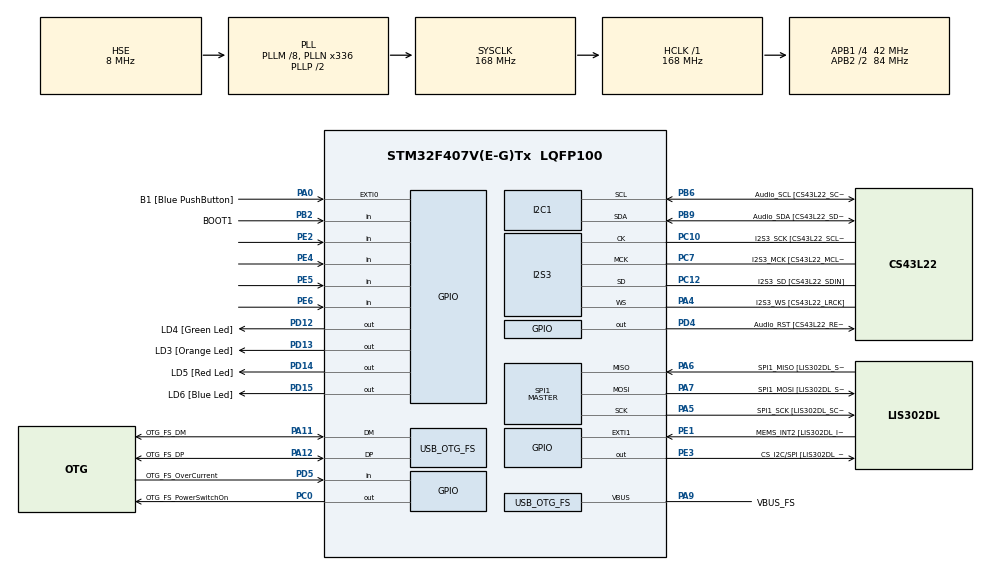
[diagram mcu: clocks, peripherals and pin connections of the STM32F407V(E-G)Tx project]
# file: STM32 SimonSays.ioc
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I2S3.AudioFreq-Half_Duplex_Master=I2S_AUDIOFREQ_96K
I2S3.ErrorAudioFreq=-2.34 %
I2S3.ErrorAudioFreq-Half_Duplex_Master=0.8 %
I2S3.FullDuplexMode=I2S_FULLDUPLEXMODE_DISABLE
I2S3.Instance=SPI$Index
I2S3.RealAudioFreq=93.75 KHz
I2S3.RealAudioFreq-Half_Duplex_Master=96.774 KHz
I2S3.VirtualMode=I2S_MODE_MASTER
Mcu.Family=STM32F4
Mcu.Name=STM32F407V(E-G)Tx
Mcu.Package=LQFP100
NVIC.OTG_FS_IRQn=true\:0\:0\:false\:false\:true\:true\:true\:true
NVIC.PriorityGroup=NVIC_PRIORITYGROUP_0
PA0-WKUP.GPIO_Label=B1 [Blue PushButton]
PA0-WKUP.GPIO_ModeDefaultEXTI=GPIO_MODE_EVT_RISING
PA0-WKUP.GPIO_PuPd=GPIO_NOPULL
PA0-WKUP.Signal=GPXTI0
PA10.GPIO_Label=OTG_FS_ID
PA10.GPIO_Mode=GPIO_MODE_AF_PP
PA10.GPIO_PuPd=GPIO_NOPULL
PA10.GPIO_Speed=GPIO_SPEED_FREQ_LOW
PA10.Signal=USB_OTG_FS_ID
PA11.GPIO_Label=OTG_FS_DM
PA11.GPIO_Mode=GPIO_MODE_AF_PP
PA11.GPIO_PuPd=GPIO_NOPULL
PA11.GPIO_Speed=GPIO_SPEED_FREQ_LOW
PA11.Mode=Host_Only
PA11.Signal=USB_OTG_FS_DM
PA12.GPIO_Label=OTG_FS_DP
PA12.GPIO_Mode=GPIO_MODE_AF_PP
PA12.GPIO_PuPd=GPIO_NOPULL
PA12.GPIO_Speed=GPIO_SPEED_FREQ_LOW
PA12.Mode=Host_Only
PA12.Signal=USB_OTG_FS_DP
PA13.GPIO_Label=SWDIO
PA13.Mode=Serial_Wire
PA13.Signal=SYS_JTMS-SWDIO
PA14.GPIO_Label=SWCLK
PA14.Mode=Serial_Wire
PA14.Signal=SYS_JTCK-SWCLK
PA4.GPIO_Label=I2S3_WS [CS43L22_LRCK]
PA4.GPIO_Mode=GPIO_MODE_AF_PP
PA4.GPIO_PuPd=GPIO_NOPULL
PA4.GPIO_Speed=GPIO_SPEED_FREQ_LOW
PA4.Mode=Half_Duplex_Master
PA4.Signal=I2S3_WS
PA5.GPIO_Label=SPI1_SCK [LIS302DL_SCL/SPC]
PA5.GPIO_Mode=GPIO_MODE_AF_PP
PA5.GPIO_PuPd=GPIO_NOPULL
PA5.GPIO_Speed=GPIO_SPEED_FREQ_LOW
PA5.Mode=Full_Duplex_Master
PA5.Signal=SPI1_SCK
PA6.GPIO_Label=SPI1_MISO [LIS302DL_SDO]
PA6.GPIO_Mode=GPIO_MODE_AF_PP
PA6.GPIO_PuPd=GPIO_NOPULL
PA6.GPIO_Speed=GPIO_SPEED_FREQ_LOW
PA6.Mode=Full_Duplex_Master
PA6.Signal=SPI1_MISO
PA7.GPIO_Label=SPI1_MOSI [LIS302DL_SDA/SDI/SDO]
PA7.GPIO_Mode=GPIO_MODE_AF_PP
PA7.GPIO_PuPd=GPIO_NOPULL
PA7.GPIO_Speed=GPIO_SPEED_FREQ_LOW
PA7.Mode=Full_Duplex_Master
PA7.Signal=SPI1_MOSI
PA9.GPIO_Label=VBUS_FS
PA9.GPIO_Mode=GPIO_MODE_INPUT
PA9.GPIO_PuPd=GPIO_NOPULL
PA9.Mode=Activate_VBUS
PA9.Signal=USB_OTG_FS_VBUS
PB10.GPIO_Label=CLK_IN [MP45DT02_CLK]
PB10.GPIO_Mode=GPIO_MODE_AF_PP
PB10.GPIO_PuPd=GPIO_NOPULL
PB10.GPIO_Speed=GPIO_SPEED_FREQ_LOW
PB10.Signal=I2S2_CK
PB2.GPIO_Label=BOOT1
PB2.GPIO_Mode=GPIO_MODE_INPUT
PB2.GPIO_PuPd=GPIO_NOPULL
PB2.Signal=GPIO_Input
PB3.GPIO_Label=SWO
PB3.Signal=SYS_JTDO-SWO
PB6.GPIO_Label=Audio_SCL [CS43L22_SCL]
PB6.GPIO_Mode=GPIO_MODE_AF_OD
PB6.GPIO_Pu=GPIO_PULLUP
PB6.GPIO_PuPd=GPIO_NOPULL
PB6.GPIO_Speed=GPIO_SPEED_FREQ_LOW
PB6.Mode=I2C
PB6.Signal=I2C1_SCL
PB9.GPIO_Label=Audio_SDA [CS43L22_SDA]
PB9.GPIO_Mode=GPIO_MODE_AF_OD
PB9.GPIO_Pu=GPIO_PULLUP
PB9.GPIO_PuPd=GPIO_NOPULL
PB9.GPIO_Speed=GPIO_SPEED_FREQ_LOW
PB9.Mode=I2C
PB9.Signal=I2C1_SDA
PC0.GPIO_Label=OTG_FS_PowerSwitchOn
PC0.GPIO_PuPd=GPIO_NOPULL
PC0.GPIO_Speed=GPIO_SPEED_FREQ_LOW
PC0.PinState=GPIO_PIN_SET
PC0.Signal=GPIO_Output
PC10.GPIO_Label=I2S3_SCK [CS43L22_SCLK]
PC10.GPIO_Mode=GPIO_MODE_AF_PP
PC10.GPIO_PuPd=GPIO_NOPULL
PC10.GPIO_Speed=GPIO_SPEED_FREQ_LOW
PC10.Mode=Half_Duplex_Master
PC10.Signal=I2S3_CK
PC12.GPIO_Label=I2S3_SD [CS43L22_SDIN]
PC12.GPIO_Mode=GPIO_MODE_AF_PP
PC12.GPIO_PuPd=GPIO_NOPULL
PC12.GPIO_Speed=GPIO_SPEED_FREQ_LOW
PC12.Mode=Half_Duplex_Master
PC12.Signal=I2S3_SD
PC14-OSC32_IN.GPIO_Label=PC14-OSC32_IN
PC14-OSC32_IN.Mode=LSE-External-Oscillator
PC14-OSC32_IN.Signal=RCC_OSC32_IN
PC15-OSC32_OUT.GPIO_Label=PC15-OSC32_OUT
PC15-OSC32_OUT.Mode=LSE-External-Oscillator
PC15-OSC32_OUT.Signal=RCC_OSC32_OUT
PC3.GPIO_Label=PDM_OUT [MP45DT02_DOUT]
PC3.GPIO_Mode=GPIO_MODE_AF_PP
PC3.GPIO_PuPd=GPIO_NOPULL
PC3.GPIO_Speed=GPIO_SPEED_FREQ_LOW
PC3.Signal=I2S2_SD
PC7.GPIO_Label=I2S3_MCK [CS43L22_MCLK]
PC7.GPIO_Mode=GPIO_MODE_AF_PP
PC7.GPIO_PuPd=GPIO_NOPULL
PC7.GPIO_Speed=GPIO_SPEED_FREQ_LOW
PC7.Mode=Master_Clock_Activated
PC7.Signal=I2S3_MCK
PD12.GPIO_Label=LD4 [Green Led]
PD12.GPIO_PuPd=GPIO_NOPULL
PD12.GPIO_Speed=GPIO_SPEED_FREQ_LOW
PD12.Signal=GPIO_Output
PD13.GPIO_Label=LD3 [Orange Led]
PD13.GPIO_PuPd=GPIO_NOPULL
PD13.GPIO_Speed=GPIO_SPEED_FREQ_LOW
PD13.Signal=GPIO_Output
PD14.GPIO_Label=LD5 [Red Led]
PD14.GPIO_PuPd=GPIO_NOPULL
PD14.GPIO_Speed=GPIO_SPEED_FREQ_LOW
PD14.Signal=GPIO_Output
PD15.GPIO_Label=LD6 [Blue Led]
PD15.GPIO_PuPd=GPIO_NOPULL
PD15.GPIO_Speed=GPIO_SPEED_FREQ_LOW
PD15.Signal=GPIO_Output
PD4.GPIO_Label=Audio_RST [CS43L22_RESET]
PD4.GPIO_PuPd=GPIO_NOPULL
PD4.GPIO_Speed=GPIO_SPEED_FREQ_LOW
PD4.Signal=GPIO_Output
PD5.GPIO_Label=OTG_FS_OverCurrent
PD5.GPIO_Mode=GPIO_MODE_INPUT
PD5.GPIO_PuPd=GPIO_NOPULL
PD5.Signal=GPIO_Input
PE1.GPIO_Label=MEMS_INT2 [LIS302DL_INT2]
PE1.GPIO_ModeDefaultEXTI=GPIO_MODE_EVT_RISING
PE1.GPIO_PuPd=GPIO_NOPULL
PE1.Signal=GPXTI1
PE2.Signal=GPIO_Input
PE3.GPIO_Label=CS_I2C/SPI [LIS302DL_CS_I2C/SPI]
PE3.GPIO_PuPd=GPIO_NOPULL
PE3.GPIO_Speed=GPIO_SPEED_FREQ_LOW
PE3.Signal=GPIO_Output
PE4.Signal=GPIO_Input
PE5.Signal=GPIO_Input
PE6.Signal=GPIO_Input
PH0-OSC_IN.GPIO_Label=PH0-OSC_IN
PH0-OSC_IN.Mode=HSE-External-Oscillator
PH0-OSC_IN.Signal=RCC_OSC_IN
PH1-OSC_OUT.GPIO_Label=PH1-OSC_OUT
PH1-OSC_OUT.Mode=HSE-External-Oscillator
PH1-OSC_OUT.Signal=RCC_OSC_OUT
ProjectManager.HeapSize=0x200
ProjectManager.StackSize=0x400
ProjectManager.TargetToolchain=STM32CubeIDE
RCC.48MHZClocksFreq_Value=48000000
RCC.AHBFreq_Value=168000000
RCC.APB1CLKDivider=RCC_HCLK_DIV4
RCC.APB1Freq_Value=42000000
RCC.APB1TimFreq_Value=84000000
RCC.APB2CLKDivider=RCC_HCLK_DIV2
RCC.APB2Freq_Value=84000000
RCC.APB2TimFreq_Value=168000000
RCC.CortexFreq_Value=168000000
RCC.HCLKFreq_Value=168000000
RCC.HSE_VALUE=8000000
RCC.HSI_VALUE=16000000
RCC.PLLM=8
RCC.PLLN=336
RCC.PLLQ=7
RCC.SYSCLKFreq_VALUE=168000000
RCC.SYSCLKSource=RCC_SYSCLKSOURCE_PLLCLK
RCC.VCOOutputFreq_Value=336000000
SPI1.BaudRatePrescaler-Full_Duplex_Master=SPI_BAUDRATEPRESCALER_2
SPI1.CalculateBaudRate-Full_Duplex_Master=42.0 MBits/s
SPI1.Direction=SPI_DIRECTION_2LINES
SPI1.Mode=SPI_MODE_MASTER
SPI1.Mode-Full_Duplex_Master=SPI_MODE_MASTER
SPI1.VirtualType=VM_MASTER
USB_HOST.BSP.number=1
USB_HOST.USBH_HandleTypeDef-CDC_FS=hUsbHostFS
USB_HOST.VirtualModeFS=Cdc
USB_HOST0.BSP.STBoard=false
USB_HOST0.BSP.api=Unknown
USB_HOST0.BSP.instance=PC0
USB_HOST0.BSP.ip=GPIO
USB_HOST0.BSP.mode=Output
USB_HOST0.BSP.name=Drive_VBUS_FS
USB_HOST0.BSP.solution=PC0
USB_OTG_FS.VirtualMode=Host_Only
USB_OTG_FS.phy_itface=HCD_PHY_EMBEDDED
VP_RNG_VS_RNG.Mode=RNG_Activate
VP_USB_HOST_VS_USB_HOST_CDC_FS.Mode=CDC_FS
board=STM32F407G-DISC1

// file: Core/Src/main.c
/* USER CODE BEGIN Header */
/**
  ******************************************************************************
  * @file           : main.c
  * @brief          : Main program body
  ******************************************************************************
  * @attention
  *
  * Copyright (c) 2025 STMicroelectronics.
  * All rights reserved.
  *
  * This software is licensed under terms that can be found in the LICENSE file
  * in the root directory of this software component.
  * If no LICENSE file comes with this software, it is provided AS-IS.
  *
  ******************************************************************************
  */
/* USER CODE END Header */
#include "main.h"
#include "usb_host.h"

/* USER CODE BEGIN PD */
#define YELLOW 1;
#define GREEN 2;
#define RED 3;
#define BLUE 4;
/* USER CODE END PD */

I2C_HandleTypeDef hi2c1;

I2S_HandleTypeDef hi2s3;

RNG_HandleTypeDef hrng;

SPI_HandleTypeDef hspi1;

/* USER CODE BEGIN PV */
static int sequenceNum = 0; //the current sequence number the player is on

int moves[10]; // the computer's array of sequences
int playerMoves[10]; // the player's array of sequences
int *arrayPtr = moves; // pointer to computer's sequences
int *playerPtr = playerMoves; // pointer to player's sequences
const int numOfSequences = 8; // number of sequences required to win the game

/* USER CODE END PV */

void SystemClock_Config(void);
static void MX_GPIO_Init(void);
static void MX_I2C1_Init(void);
static void MX_I2S3_Init(void);
static void MX_SPI1_Init(void);
static void MX_RNG_Init(void);
void MX_USB_HOST_Process(void);

/* USER CODE BEGIN 0 */

/* Adds a RNG number to Computer's Array of Sequences
 *
 */
void addSequence(int *arrayPtr) {
	if (sequenceNum < 10) {
		uint32_t randomNum;
		HAL_RNG_GenerateRandomNumber(&hrng, &randomNum);
		*(arrayPtr + sequenceNum) = (randomNum % 4) + 1;
		sequenceNum++;
	}
}

/* Displays Computer's Array of Sequences to ONBOARD-LEDS.
 *
 */
void displaySequence(int *arrayPtr) {
	for (int i = 0; i < sequenceNum; i++) {
		if (*(arrayPtr + i) == 1) {
			HAL_GPIO_WritePin(GPIOD, GPIO_PIN_13, GPIO_PIN_SET);
			HAL_Delay(500);
			HAL_GPIO_WritePin(GPIOD, GPIO_PIN_13, GPIO_PIN_RESET);
		}
		else if (*(arrayPtr + i) == 2) {
			HAL_GPIO_WritePin(GPIOD, GPIO_PIN_12, GPIO_PIN_SET);
			HAL_Delay(500);
			HAL_GPIO_WritePin(GPIOD, GPIO_PIN_12, GPIO_PIN_RESET);
		}
		else if (*(arrayPtr + i) == 3) {
			HAL_GPIO_WritePin(GPIOD, GPIO_PIN_14, GPIO_PIN_SET);
			HAL_Delay(500);
			HAL_GPIO_WritePin(GPIOD, GPIO_PIN_14, GPIO_PIN_RESET);
		}
		else {
			HAL_GPIO_WritePin(GPIOD, GPIO_PIN_15, GPIO_PIN_SET);
			HAL_Delay(500);
			HAL_GPIO_WritePin(GPIOD, GPIO_PIN_15, GPIO_PIN_RESET);
		}
		HAL_Delay(100);
	}
}

/* Adds the input number from Player to Player's Array of Sequences.
 * For each number up to sequenceNum, waits for a pin reading from external buttons.
 *
 */
void playerMove(int *playerPtr) {
	for (int i = 0; i < sequenceNum; i++) {
		while(1) {
			if (HAL_GPIO_ReadPin(GPIOE, GPIO_PIN_2) == GPIO_PIN_RESET) {
				HAL_GPIO_TogglePin(GPIOD, GPIO_PIN_15);
				HAL_Delay(100);
				HAL_GPIO_TogglePin(GPIOD, GPIO_PIN_15);
				playerPtr[i] = 4;
				break;
			}
			else if (HAL_GPIO_ReadPin(GPIOE, GPIO_PIN_4) == GPIO_PIN_RESET) {
				HAL_GPIO_TogglePin(GPIOD, GPIO_PIN_14);
				HAL_Delay(100);
				HAL_GPIO_TogglePin(GPIOD, GPIO_PIN_14);
				playerPtr[i] = 3;
				break;
			}
			else if (HAL_GPIO_ReadPin(GPIOE, GPIO_PIN_5) == GPIO_PIN_RESET) {
				HAL_GPIO_TogglePin(GPIOD, GPIO_PIN_12);
				HAL_Delay(100);
				HAL_GPIO_TogglePin(GPIOD, GPIO_PIN_12);
				playerPtr[i] = 2;
				break;
			}
			else if (HAL_GPIO_ReadPin(GPIOE, GPIO_PIN_6) == GPIO_PIN_RESET) {
				HAL_GPIO_TogglePin(GPIOD, GPIO_PIN_13);
				HAL_Delay(100);
				HAL_GPIO_TogglePin(GPIOD, GPIO_PIN_13);
				playerPtr[i] = 1;
				break;
			}
		}
		HAL_Delay(20); //Small delay to reduce CPU usage
	}
}

/* Checks Player Array and Computer Array have same values.
 *
 */
int checkPlayer(int *arrayPtr, int *playerPtr) {
	for (int i = 0; i < sequenceNum; i++) {
		if (arrayPtr[i] != playerPtr[i]) {
			return 0;
		}
	}
	return 1;
}

/* Displays the winning sequence --> All colors flashing.
 *
 */
void Win() {
	for (int i = 0; i < 21; i++) {
		// Toggle BLUE LED
		HAL_GPIO_TogglePin(GPIOD, GPIO_PIN_15);
		HAL_Delay(100);
		HAL_GPIO_TogglePin(GPIOD, GPIO_PIN_15);
		HAL_Delay(100);

		// Toggle GREEN LED
		HAL_GPIO_TogglePin(GPIOD, GPIO_PIN_12);
		HAL_Delay(100);
		HAL_GPIO_TogglePin(GPIOD, GPIO_PIN_12);
		HAL_Delay(100);

		// Toggle YELLOW LED
		HAL_GPIO_TogglePin(GPIOD, GPIO_PIN_13);
		HAL_Delay(100);
		HAL_GPIO_TogglePin(GPIOD, GPIO_PIN_13);
		HAL_Delay(100);

		// Toggle RED LED
		HAL_GPIO_TogglePin(GPIOD, GPIO_PIN_14);
		HAL_Delay(100);
		HAL_GPIO_TogglePin(GPIOD, GPIO_PIN_14);
		HAL_Delay(100);
	}
}

/* Displays the Losing Sequence --> Red LED Flashing.
 *
 */
void Lose() {
	for (int i = 0; i < 21; i++) {
		HAL_GPIO_TogglePin(GPIOD, GPIO_PIN_14);
	    HAL_Delay(100);
	    HAL_GPIO_TogglePin(GPIOD, GPIO_PIN_14);
	    HAL_Delay(100);
	}
}
/* USER CODE END 0 */

int main(void)
{

  /* MCU Configuration--------------------------------------------------------*/

  /* Reset of all peripherals, Initializes the Flash interface and the Systick. */
  HAL_Init();

  /* Configure the system clock */
  SystemClock_Config();

  /* Initialize all configured peripherals */
  MX_GPIO_Init();
  MX_I2C1_Init();
  MX_I2S3_Init();
  MX_SPI1_Init();
  MX_USB_HOST_Init();
  MX_RNG_Init();

  /* Infinite loop */
  /* USER CODE BEGIN WHILE */
  while (1)
  {
	  while (sequenceNum < numOfSequences) {
		  addSequence(arrayPtr);
		  displaySequence(arrayPtr);
		  playerMove(playerPtr);
		  //HAL_Delay(500);
		  if (checkPlayer(arrayPtr, playerPtr) == 0) {
			  Lose();
			  return 0;
		  }
	  }
	  Win();
	  return 1;
    /* USER CODE END WHILE */
    MX_USB_HOST_Process();

  }
}

void SystemClock_Config(void)
{
  RCC_OscInitTypeDef RCC_OscInitStruct = {0};
  RCC_ClkInitTypeDef RCC_ClkInitStruct = {0};

  /** Configure the main internal regulator output voltage
  */
  __HAL_RCC_PWR_CLK_ENABLE();
  __HAL_PWR_VOLTAGESCALING_CONFIG(PWR_REGULATOR_VOLTAGE_SCALE1);

  /** Initializes the RCC Oscillators according to the specified parameters
  * in the RCC_OscInitTypeDef structure.
  */
  RCC_OscInitStruct.OscillatorType = RCC_OSCILLATORTYPE_HSE;
  RCC_OscInitStruct.HSEState = RCC_HSE_ON;
  RCC_OscInitStruct.PLL.PLLState = RCC_PLL_ON;
  RCC_OscInitStruct.PLL.PLLSource = RCC_PLLSOURCE_HSE;
  RCC_OscInitStruct.PLL.PLLM = 8;
  RCC_OscInitStruct.PLL.PLLN = 336;
  RCC_OscInitStruct.PLL.PLLP = RCC_PLLP_DIV2;
  RCC_OscInitStruct.PLL.PLLQ = 7;
  if (HAL_RCC_OscConfig(&RCC_OscInitStruct) != HAL_OK)
  {
    Error_Handler();
  }

  /** Initializes the CPU, AHB and APB buses clocks
  */
  RCC_ClkInitStruct.ClockType = RCC_CLOCKTYPE_HCLK|RCC_CLOCKTYPE_SYSCLK
                              |RCC_CLOCKTYPE_PCLK1|RCC_CLOCKTYPE_PCLK2;
  RCC_ClkInitStruct.SYSCLKSource = RCC_SYSCLKSOURCE_PLLCLK;
  RCC_ClkInitStruct.AHBCLKDivider = RCC_SYSCLK_DIV1;
  RCC_ClkInitStruct.APB1CLKDivider = RCC_HCLK_DIV4;
  RCC_ClkInitStruct.APB2CLKDivider = RCC_HCLK_DIV2;

  if (HAL_RCC_ClockConfig(&RCC_ClkInitStruct, FLASH_LATENCY_5) != HAL_OK)
  {
    Error_Handler();
  }
}

static void MX_I2C1_Init(void)
{

  hi2c1.Instance = I2C1;
  hi2c1.Init.ClockSpeed = 100000;
  hi2c1.Init.DutyCycle = I2C_DUTYCYCLE_2;
  hi2c1.Init.OwnAddress1 = 0;
  hi2c1.Init.AddressingMode = I2C_ADDRESSINGMODE_7BIT;
  hi2c1.Init.DualAddressMode = I2C_DUALADDRESS_DISABLE;
  hi2c1.Init.OwnAddress2 = 0;
  hi2c1.Init.GeneralCallMode = I2C_GENERALCALL_DISABLE;
  hi2c1.Init.NoStretchMode = I2C_NOSTRETCH_DISABLE;
  if (HAL_I2C_Init(&hi2c1) != HAL_OK)
  {
    Error_Handler();
  }

}

static void MX_I2S3_Init(void)
{

  hi2s3.Instance = SPI3;
  hi2s3.Init.Mode = I2S_MODE_MASTER_TX;
  hi2s3.Init.Standard = I2S_STANDARD_PHILIPS;
  hi2s3.Init.DataFormat = I2S_DATAFORMAT_16B;
  hi2s3.Init.MCLKOutput = I2S_MCLKOUTPUT_ENABLE;
  hi2s3.Init.AudioFreq = I2S_AUDIOFREQ_96K;
  hi2s3.Init.CPOL = I2S_CPOL_LOW;
  hi2s3.Init.ClockSource = I2S_CLOCK_PLL;
  hi2s3.Init.FullDuplexMode = I2S_FULLDUPLEXMODE_DISABLE;
  if (HAL_I2S_Init(&hi2s3) != HAL_OK)
  {
    Error_Handler();
  }

}

static void MX_RNG_Init(void)
{

  hrng.Instance = RNG;
  if (HAL_RNG_Init(&hrng) != HAL_OK)
  {
    Error_Handler();
  }

}

static void MX_SPI1_Init(void)
{

  /* SPI1 parameter configuration*/
  hspi1.Instance = SPI1;
  hspi1.Init.Mode = SPI_MODE_MASTER;
  hspi1.Init.Direction = SPI_DIRECTION_2LINES;
  hspi1.Init.DataSize = SPI_DATASIZE_8BIT;
  hspi1.Init.CLKPolarity = SPI_POLARITY_LOW;
  hspi1.Init.CLKPhase = SPI_PHASE_1EDGE;
  hspi1.Init.NSS = SPI_NSS_SOFT;
  hspi1.Init.BaudRatePrescaler = SPI_BAUDRATEPRESCALER_2;
  hspi1.Init.FirstBit = SPI_FIRSTBIT_MSB;
  hspi1.Init.TIMode = SPI_TIMODE_DISABLE;
  hspi1.Init.CRCCalculation = SPI_CRCCALCULATION_DISABLE;
  hspi1.Init.CRCPolynomial = 10;
  if (HAL_SPI_Init(&hspi1) != HAL_OK)
  {
    Error_Handler();
  }

}

static void MX_GPIO_Init(void)
{
  GPIO_InitTypeDef GPIO_InitStruct = {0};

  /* GPIO Ports Clock Enable */
  __HAL_RCC_GPIOE_CLK_ENABLE();
  __HAL_RCC_GPIOC_CLK_ENABLE();
  __HAL_RCC_GPIOH_CLK_ENABLE();
  __HAL_RCC_GPIOA_CLK_ENABLE();
  __HAL_RCC_GPIOB_CLK_ENABLE();
  __HAL_RCC_GPIOD_CLK_ENABLE();

  /*Configure GPIO pin Output Level */
  HAL_GPIO_WritePin(CS_I2C_SPI_GPIO_Port, CS_I2C_SPI_Pin, GPIO_PIN_RESET);

  /*Configure GPIO pin Output Level */
  HAL_GPIO_WritePin(OTG_FS_PowerSwitchOn_GPIO_Port, OTG_FS_PowerSwitchOn_Pin, GPIO_PIN_SET);

  /*Configure GPIO pin Output Level */
  HAL_GPIO_WritePin(GPIOD, LD4_Pin|LD3_Pin|LD5_Pin|LD6_Pin
                          |Audio_RST_Pin, GPIO_PIN_RESET);

  /*Configure GPIO pins : PE2 PE4 PE5 PE6 */
  GPIO_InitStruct.Pin = GPIO_PIN_2|GPIO_PIN_4|GPIO_PIN_5|GPIO_PIN_6;
  GPIO_InitStruct.Mode = GPIO_MODE_INPUT;
  GPIO_InitStruct.Pull = GPIO_NOPULL;
  HAL_GPIO_Init(GPIOE, &GPIO_InitStruct);

  /*Configure GPIO pin : CS_I2C_SPI_Pin */
  GPIO_InitStruct.Pin = CS_I2C_SPI_Pin;
  GPIO_InitStruct.Mode = GPIO_MODE_OUTPUT_PP;
  GPIO_InitStruct.Pull = GPIO_NOPULL;
  GPIO_InitStruct.Speed = GPIO_SPEED_FREQ_LOW;
  HAL_GPIO_Init(CS_I2C_SPI_GPIO_Port, &GPIO_InitStruct);

  /*Configure GPIO pin : OTG_FS_PowerSwitchOn_Pin */
  GPIO_InitStruct.Pin = OTG_FS_PowerSwitchOn_Pin;
  GPIO_InitStruct.Mode = GPIO_MODE_OUTPUT_PP;
  GPIO_InitStruct.Pull = GPIO_NOPULL;
  GPIO_InitStruct.Speed = GPIO_SPEED_FREQ_LOW;
  HAL_GPIO_Init(OTG_FS_PowerSwitchOn_GPIO_Port, &GPIO_InitStruct);

  /*Configure GPIO pin : PDM_OUT_Pin */
  GPIO_InitStruct.Pin = PDM_OUT_Pin;
  GPIO_InitStruct.Mode = GPIO_MODE_AF_PP;
  GPIO_InitStruct.Pull = GPIO_NOPULL;
  GPIO_InitStruct.Speed = GPIO_SPEED_FREQ_LOW;
  GPIO_InitStruct.Alternate = GPIO_AF5_SPI2;
  HAL_GPIO_Init(PDM_OUT_GPIO_Port, &GPIO_InitStruct);

  /*Configure GPIO pin : B1_Pin */
  GPIO_InitStruct.Pin = B1_Pin;
  GPIO_InitStruct.Mode = GPIO_MODE_EVT_RISING;
  GPIO_InitStruct.Pull = GPIO_NOPULL;
  HAL_GPIO_Init(B1_GPIO_Port, &GPIO_InitStruct);

  /*Configure GPIO pin : BOOT1_Pin */
  GPIO_InitStruct.Pin = BOOT1_Pin;
  GPIO_InitStruct.Mode = GPIO_MODE_INPUT;
  GPIO_InitStruct.Pull = GPIO_NOPULL;
  HAL_GPIO_Init(BOOT1_GPIO_Port, &GPIO_InitStruct);

  /*Configure GPIO pin : CLK_IN_Pin */
  GPIO_InitStruct.Pin = CLK_IN_Pin;
  GPIO_InitStruct.Mode = GPIO_MODE_AF_PP;
  GPIO_InitStruct.Pull = GPIO_NOPULL;
  GPIO_InitStruct.Speed = GPIO_SPEED_FREQ_LOW;
  GPIO_InitStruct.Alternate = GPIO_AF5_SPI2;
  HAL_GPIO_Init(CLK_IN_GPIO_Port, &GPIO_InitStruct);

  /*Configure GPIO pins : LD4_Pin LD3_Pin LD5_Pin LD6_Pin
                           Audio_RST_Pin */
  GPIO_InitStruct.Pin = LD4_Pin|LD3_Pin|LD5_Pin|LD6_Pin
                          |Audio_RST_Pin;
  GPIO_InitStruct.Mode = GPIO_MODE_OUTPUT_PP;
  GPIO_InitStruct.Pull = GPIO_NOPULL;
  GPIO_InitStruct.Speed = GPIO_SPEED_FREQ_LOW;
  HAL_GPIO_Init(GPIOD, &GPIO_InitStruct);

  /*Configure GPIO pin : OTG_FS_OverCurrent_Pin */
  GPIO_InitStruct.Pin = OTG_FS_OverCurrent_Pin;
  GPIO_InitStruct.Mode = GPIO_MODE_INPUT;
  GPIO_InitStruct.Pull = GPIO_NOPULL;
  HAL_GPIO_Init(OTG_FS_OverCurrent_GPIO_Port, &GPIO_InitStruct);

  /*Configure GPIO pin : MEMS_INT2_Pin */
  GPIO_InitStruct.Pin = MEMS_INT2_Pin;
  GPIO_InitStruct.Mode = GPIO_MODE_EVT_RISING;
  GPIO_InitStruct.Pull = GPIO_NOPULL;
  HAL_GPIO_Init(MEMS_INT2_GPIO_Port, &GPIO_InitStruct);

}

void Error_Handler(void)
{
  __disable_irq();
  while (1)
  {
  }
}
